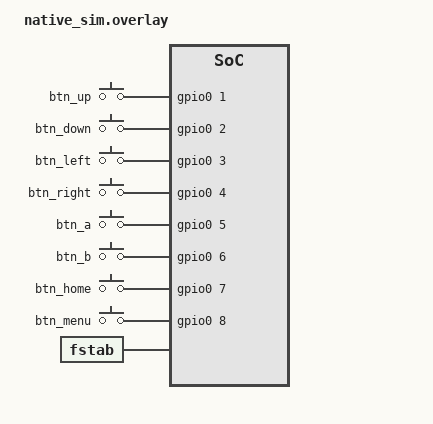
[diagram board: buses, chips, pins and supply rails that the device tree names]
/* AkiraConsole button emulation via SDL keyboard
 *
 * Key mapping (USB HID scan codes):
 *   Arrow keys   → D-pad (UP/DOWN/LEFT/RIGHT)
 *   Z            → A button (confirm / LV_KEY_ENTER)
 *   X            → B button (back   / LV_KEY_ESC)
 *   S            → HOME button      / LV_KEY_HOME)
 *   A            → MENU button      / LV_KEY_END)
 */
#include <zephyr/dt-bindings/input/input-event-codes.h>
#include <zephyr/dt-bindings/lvgl/lvgl.h>

/* Extend gpio0 (zephyr,gpio-emul) with 9 pins: pin0=LED, pins1-8=buttons */
&gpio0 {
    ngpios = <9>;
    sdl_gpio: sdl_gpio {
        compatible = "zephyr,gpio-emul-sdl";
        /* Index = GPIO pin; 0 = UNKNOWN (LED), rest = SDL scan codes */
        scancodes = <0 82 81 80 79 29 27 22 4>;
    };
};

/ {
    chosen {
        zephyr,console = &uart0;
        zephyr,shell-uart = &uart0;
        zephyr,uart-mcumgr = &uart0;
    };

    /* GPIO keys: map GPIO pins to Zephyr input event codes */
    buttons: buttons {
        compatible = "gpio-keys";
        btn_up: btn_up {
            gpios = <&gpio0 1 GPIO_ACTIVE_HIGH>;
            zephyr,code = <INPUT_KEY_UP>;
        };
        btn_down: btn_down {
            gpios = <&gpio0 2 GPIO_ACTIVE_HIGH>;
            zephyr,code = <INPUT_KEY_DOWN>;
        };
        btn_left: btn_left {
            gpios = <&gpio0 3 GPIO_ACTIVE_HIGH>;
            zephyr,code = <INPUT_KEY_LEFT>;
        };
        btn_right: btn_right {
            gpios = <&gpio0 4 GPIO_ACTIVE_HIGH>;
            zephyr,code = <INPUT_KEY_RIGHT>;
        };
        btn_a: btn_a {
            gpios = <&gpio0 5 GPIO_ACTIVE_HIGH>;
            zephyr,code = <INPUT_KEY_ENTER>;
        };
        btn_b: btn_b {
            gpios = <&gpio0 6 GPIO_ACTIVE_HIGH>;
            zephyr,code = <INPUT_KEY_ESC>;
        };
        btn_home: btn_home {
            gpios = <&gpio0 7 GPIO_ACTIVE_HIGH>;
            zephyr,code = <INPUT_KEY_HOME>;
        };
        btn_menu: btn_menu {
            gpios = <&gpio0 8 GPIO_ACTIVE_HIGH>;
            zephyr,code = <INPUT_KEY_END>;
        };
    };

    /* Route GPIO key events to the LVGL keypad indev */
    lvgl_keymap: lvgl_keymap {
        compatible = "zephyr,lvgl-keypad-input";
        input = <&buttons>;
        input-codes = <INPUT_KEY_UP   INPUT_KEY_DOWN  INPUT_KEY_LEFT  INPUT_KEY_RIGHT
                       INPUT_KEY_ENTER INPUT_KEY_ESC   INPUT_KEY_HOME  INPUT_KEY_END>;
        lvgl-codes  = <LV_KEY_UP      LV_KEY_DOWN     LV_KEY_LEFT     LV_KEY_RIGHT
                       LV_KEY_ENTER   LV_KEY_ESC      LV_KEY_HOME     LV_KEY_END>;
    };

    aliases {
        uart0 = &uart0;
        user-data-partition = &storage_partition;
    };

    fstab {
        compatible = "zephyr,fstab";
        lfs1: lfs1 {
            compatible = "zephyr,fstab,littlefs";
            read-size = <1>;
            prog-size = <1>;
            cache-size = <64>;
            lookahead-size = <32>;
            block-cycles = <512>;
            partition = <&storage_partition>;
            mount-point = "/lfs";
        };
    };
};

// Change storage partition label to user_data_partition for LittleFS
user_data_partition: &storage_partition {
    label = "user_data_partition";
};

// Flash partitions for native simulator
&flash0 {
    partitions {
        compatible = "fixed-partitions";
        #address-cells = <1>;
        #size-cells = <1>;

        akira_settings_nvs_partition: partition@100000 {
            label = "akira_settings_nvs";
            reg = <0x100000 0x8000>;
        };
    };
};
